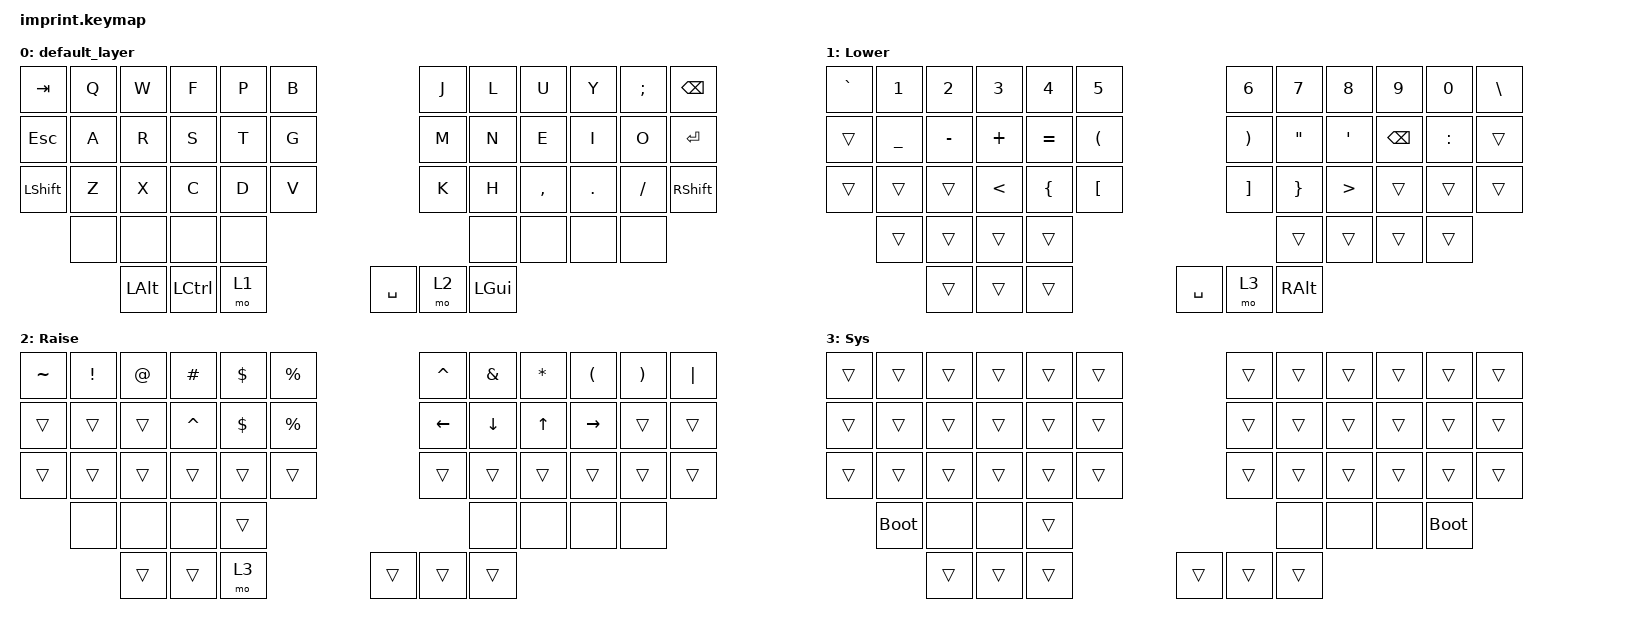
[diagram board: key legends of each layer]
#include <behaviors.dtsi>
#include <dt-bindings/zmk/keys.h>
#include <dt-bindings/zmk/bt.h>
#include <dt-bindings/zmk/outputs.h>
#include <dt-bindings/zmk/rgb.h>
#include <dt-bindings/zmk/ext_power.h>

/ {
    chosen {
        zmk,matrix_transform = &dactyl_single_arc_letters_only;
    };

    keymap {
        compatible = "zmk,keymap";

        default_layer {
            bindings = <
                &kp TAB    &kp Q  &kp W  &kp F  &kp P  &kp B                &kp J  &kp L  &kp U  &kp Y  &kp SEMICOLON  &kp BACKSPACE 
                &kp ESC    &kp A  &kp R  &kp S  &kp T  &kp G                &kp M  &kp N  &kp E  &kp I  &kp O  &kp ENTER
                &kp LSHFT  &kp Z  &kp X  &kp C  &kp D  &kp V                &kp K  &kp H  &kp COMMA  &kp DOT  &kp FSLH  &kp RSHFT
                        &none  &none  &none  &none                                 &none  &none  &none  &none
                                     &kp LALT &kp LCTRL  &mo 1     &kp SPACE &mo 2 &kp LGUI  
             >;
        };

        lower_layer {
            display-name = "Lower";
            bindings = <
                &kp GRAVE  &kp N1  &kp N2  &kp N3  &kp N4  &kp N5                   &kp N6  &kp N7  &kp N8  &kp N9  &kp N0  &kp BACKSLASH
                &trans  &kp UNDERSCORE  &kp MINUS  &kp PLUS  &kp EQUAL              &kp LPAR  &kp RPAR  &kp DOUBLE_QUOTES  &kp SINGLE_QUOTE  &kp BACKSPACE  &kp COLON  &trans 
                &trans  &trans  &trans  &kp LT  &kp LEFT_BRACE  &kp LEFT_BRACKET    &kp RIGHT_BRACKET  &kp RIGHT_BRACE  &kp GT  &trans  &trans  &trans
                       &trans  &trans  &trans  &trans                                               &trans  &trans  &trans &trans
                                            &trans  &trans  &trans    &kp SPACE  &mo 3 &kp RIGHT_ALT 
            >;
        };

        raise_layer {
            display-name = "Raise";
            bindings = <
                &kp TILDE  &kp EXCL  &kp AT  &kp HASH  &kp DOLLAR &kp PERCENT          &kp CARET  &kp AMPERSAND &kp STAR &kp LPAR  &kp RPAR  &kp PIPE
                &trans  &trans  &trans  &kp CARET  &kp DOLLAR  &kp PERCENT             &kp LEFT  &kp DOWN  &kp UP  &kp RIGHT  &trans  &trans  
                &trans  &trans  &trans  &trans  &trans  &trans                         &trans  &trans  &trans  &trans  &trans  &trans  
                &none  &none  &none  &trans                                                           &none  &none  &none  &none
                                                &trans  &trans &mo 3    &trans  &trans  &trans
            >;
        };

        sys_layer {
            display-name = "Sys";
            bindings = <
                &trans  &trans  &trans  &trans  &trans  &trans                         &trans  &trans  &trans  &trans  &trans  &trans
                &trans  &trans  &trans  &trans  &trans  &trans                         &trans  &trans  &trans  &trans  &trans  &trans
                &trans  &trans  &trans  &trans  &trans  &trans                         &trans  &trans  &trans  &trans  &trans  &trans
                &bootloader  &none  &none  &trans                                               &none  &none  &none  &bootloader
                                                &trans  &trans  &trans  &trans  &trans  &trans
            >;
        };
    };
};
